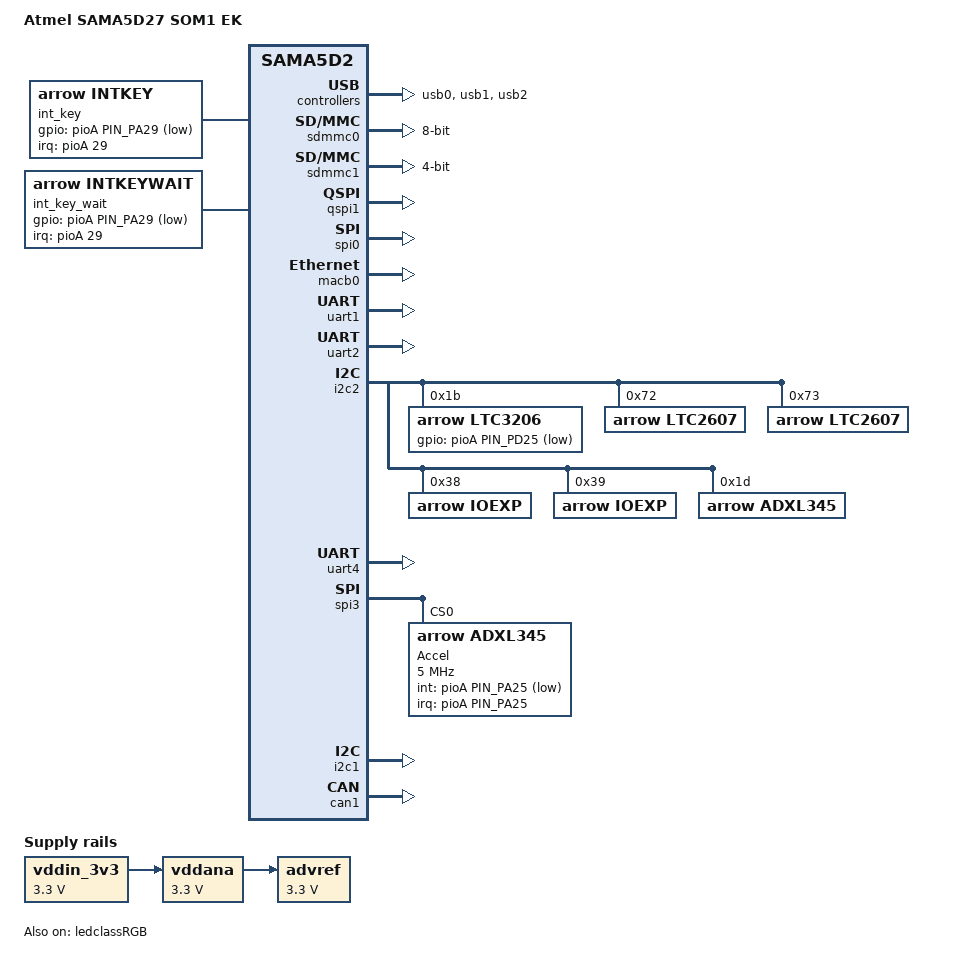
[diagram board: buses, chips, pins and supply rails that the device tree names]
/*
 * at91-sama5d27_som1_ek.dts - Device Tree file for SAMA5D27-SOM1-EK board
 *
 *  Copyright (c) 2017, Microchip Technology Inc.
 *                2016 Nicolas Ferre <nicolas.ferre@atmel.com>
 *                2017 Cristian Birsan <cristian.birsan@microchip.com>
 *                2017 Claudiu Beznea <claudiu.beznea@microchip.com>
 *
 * This file is dual-licensed: you can use it either under the terms
 * of the GPL or the X11 license, at your option. Note that this dual
 * licensing only applies to this file, and not this project as a
 * whole.
 *
 *  a) This file is free software; you can redistribute it and/or
 *     modify it under the terms of the GNU General Public License as
 *     published by the Free Software Foundation; either version 2 of the
 *     License, or (at your option) any later version.
 *
 *     This file is distributed in the hope that it will be useful,
 *     but WITHOUT ANY WARRANTY; without even the implied warranty of
 *     MERCHANTABILITY or FITNESS FOR A PARTICULAR PURPOSE.  See the
 *     GNU General Public License for more details.
 *
 * Or, alternatively,
 *
 *  b) Permission is hereby granted, free of charge, to any person
 *     obtaining a copy of this software and associated documentation
 *     files (the "Software"), to deal in the Software without
 *     restriction, including without limitation the rights to use,
 *     copy, modify, merge, publish, distribute, sublicense, and/or
 *     sell copies of the Software, and to permit persons to whom the
 *     Software is furnished to do so, subject to the following
 *     conditions:
 *
 *     The above copyright notice and this permission notice shall be
 *     included in all copies or substantial portions of the Software.
 *
 *     THE SOFTWARE IS PROVIDED "AS IS", WITHOUT WARRANTY OF ANY KIND,
 *     EXPRESS OR IMPLIED, INCLUDING BUT NOT LIMITED TO THE WARRANTIES
 *     OF MERCHANTABILITY, FITNESS FOR A PARTICULAR PURPOSE AND
 *     NONINFRINGEMENT. IN NO EVENT SHALL THE AUTHORS OR COPYRIGHT
 *     HOLDERS BE LIABLE FOR ANY CLAIM, DAMAGES OR OTHER LIABILITY,
 *     WHETHER IN AN ACTION OF CONTRACT, TORT OR OTHERWISE, ARISING
 *     FROM, OUT OF OR IN CONNECTION WITH THE SOFTWARE OR THE USE OR
 *     OTHER DEALINGS IN THE SOFTWARE.
 */
/dts-v1/;
#include "at91-sama5d27_som1.dtsi"
#include <dt-bindings/mfd/atmel-flexcom.h>
#include <dt-bindings/gpio/gpio.h>

/ {
	model = "Atmel SAMA5D27 SOM1 EK";
	compatible = "atmel,sama5d27-som1-ek", "atmel,sama5d27-som1", "atmel,sama5d27", "atmel,sama5d2", "atmel,sama5";

	aliases {
		serial0 = &uart1;	/* DBGU */
		serial1 = &uart4;	/* mikro BUS 1 */
		serial2 = &uart2;	/* mikro BUS 2 */
		i2c1	= &i2c1;
		i2c2	= &i2c2;
	};

	chosen {
		stdout-path = "serial0:115200n8";
	};

	ahb {
		usb0: gadget@300000 {
			atmel,vbus-gpio = <&pioA PIN_PD20 GPIO_ACTIVE_HIGH>;
			pinctrl-names = "default";
			pinctrl-0 = <&pinctrl_usba_vbus>;
			status = "okay";
		};

		usb1: ohci@400000 {
			num-ports = <3>;
			atmel,vbus-gpio = <0 /* &pioA PIN_PD20 GPIO_ACTIVE_HIGH */
					   &pioA PIN_PA27 GPIO_ACTIVE_HIGH
					   0
					  >;
			pinctrl-names = "default";
			pinctrl-0 = <&pinctrl_usb_default>;
			status = "okay";
		};

		usb2: ehci@500000 {
			status = "okay";
		};

		sdmmc0: sdio-host@a0000000 {
			bus-width = <8>;
			pinctrl-names = "default";
			pinctrl-0 = <&pinctrl_sdmmc0_default>;
			status = "okay";
		};

		sdmmc1: sdio-host@b0000000 {
			bus-width = <4>;
			pinctrl-names = "default";
			pinctrl-0 = <&pinctrl_sdmmc1_default>;
			status = "okay";
		};

		apb {
			pmc: pmc@f0014000 {
				pmc_fast_restart {
					compatible = "atmel,sama5d2-pmc-fast-startup";
					#address-cells = <1>;
					#size-cells = <0>;

					atmel,wakeup-rtc-timer;

					wkpin: input@0 {
						reg = <0>;
					};

					gmac_wol: input@10 {
						reg = <10>;
						atmel,wakeup-active-high;
					};
				};
			};

			isc: isc@f0008000 {
				pinctrl-names = "default";
				pinctrl-0 = <&pinctrl_isc_base &pinctrl_isc_data_8bit &pinctrl_isc_data_9_10 &pinctrl_isc_data_11_12>;
				status = "okay";
			};

			qspi1: spi@f0024000 {
				status = "okay";
			};

			spi0: spi@f8000000 {
				pinctrl-names = "default";
				pinctrl-0 = <&pinctrl_spi0_default>;
				status = "okay";
			};

			macb0: ethernet@f8008000 {
				status = "okay";
			};

			tcb0: timer@f800c000 {
				timer0: timer@0 {
					compatible = "atmel,tcb-timer";
					reg = <0>;
				};

				timer1: timer@1 {
					compatible = "atmel,tcb-timer";
					reg = <1>;
				};
			};

			uart1: serial@f8020000 {
				pinctrl-names = "default";
				pinctrl-0 = <&pinctrl_uart1_default>;
				atmel,use-dma-rx;
				atmel,use-dma-tx;
				status = "okay";
			};

			uart2: serial@f8024000 {
				pinctrl-names = "default";
				pinctrl-0 = <&pinctrl_mikrobus2_uart>;
				atmel,use-dma-rx;
				atmel,use-dma-tx;
				status = "okay";
			};

			pwm0: pwm@f802c000 {
				pinctrl-names = "default";
				pinctrl-0 = <&pinctrl_mikrobus1_pwm &pinctrl_mikrobus2_pwm>;
				status = "disabled"; /* Conflict with leds. */
			};

			flx1: flexcom@f8038000 {
				atmel,flexcom-mode = <ATMEL_FLEXCOM_MODE_TWI>;
				status = "okay";

				i2c2: i2c@600 {
					compatible = "atmel,sama5d2-i2c";
					reg = <0x600 0x200>;
					interrupts = <20 IRQ_TYPE_LEVEL_HIGH 7>;
					dmas = <0>, <0>;
					dma-names = "tx", "rx";
					#address-cells = <1>;
					#size-cells = <0>;
					clocks = <&flx1_clk>;
					pinctrl-names = "default";
					pinctrl-0 = <&pinctrl_mikrobus_i2c>;
					atmel,fifo-size = <16>;
					status = "okay";

					ltc3206: ltc3206@1b {
						compatible = "arrow,ltc3206";
						reg = <0x1b>;
						pinctrl-0 = <&pinctrl_mikrobus1_an>;
						gpios = <&pioA PIN_PD25 GPIO_ACTIVE_LOW>;
					
						led1r {
							label = "red";
						};

						led1b {
							label = "blue";
						};
					
						led1g {
							label = "green";
						};
					
						ledmain {
							label = "main";
						};
					
						ledsub {
							label = "sub";
						};
					};	

					ltc2607@72 {
						compatible = "arrow,ltc2607";
						reg = <0x72>;
					};
				
					ltc2607@73 {
						compatible = "arrow,ltc2607";
						reg = <0x73>;
					};

					ioexp@38 {
						compatible = "arrow,ioexp";
						reg = <0x38>;
					};
					
					ioexp@39 {
						compatible = "arrow,ioexp";
						reg = <0x39>;
					};

					adxl345@1c {
						compatible = "arrow,adxl345";
						reg = <0x1d>;
					};
				};
			};

			shdwc@f8048010 {
				atmel,shdwc-debouncer = <976>;
				atmel,wakeup-rtc-timer;

				input@0 {
					reg = <0>;
					atmel,wakeup-type = "low";
				};
			};

			watchdog@f8048040 {
				status = "okay";
			};

			uart3: serial@fc008000 {
				atmel,use-dma-rx;
				atmel,use-dma-tx;
				pinctrl-names = "default";
				pinctrl-0 = <&pinctrl_uart3_default>;
				status = "disabled"; /* Conflict with isc. */
			};

			uart4: serial@fc00c000 {
				atmel,use-dma-rx;
				atmel,use-dma-tx;
				pinctrl-names = "default";
				pinctrl-0 = <&pinctrl_mikrobus1_uart>;
				status = "okay";
			};

			flx3: flexcom@fc014000 {
				atmel,flexcom-mode = <ATMEL_FLEXCOM_MODE_SPI>;
				status = "disabled";

				uart7: serial@200 {
					compatible = "atmel,at91sam9260-usart";
					reg = <0x200 0x200>;
					interrupts = <22 IRQ_TYPE_LEVEL_HIGH 7>;
					clocks = <&flx3_clk>;
					clock-names = "usart";
					pinctrl-names = "default";
					pinctrl-0 = <&pinctrl_flx3_default>;
					atmel,fifo-size = <32>;
					status = "disabled"; /* Conflict with isc. */
				};

				spi2: spi@400 {
					compatible = "atmel,at91rm9200-spi";
					reg = <0x400 0x200>;
					interrupts = <22 IRQ_TYPE_LEVEL_HIGH 7>;
					clocks = <&flx3_clk>;
					clock-names = "spi_clk";
					pinctrl-names = "default";
					pinctrl-0 = <&pinctrl_flx3_default>;
					atmel,fifo-size = <16>;
					status = "disabled"; /* Conflict with isc. */
				};
			};

			flx4: flexcom@fc018000 {
				atmel,flexcom-mode = <ATMEL_FLEXCOM_MODE_SPI>;
				status = "okay";

				uart6: serial@200 {
					compatible = "atmel,at91sam9260-usart";
					reg = <0x200 0x200>;
					interrupts = <23 IRQ_TYPE_LEVEL_HIGH 7>;
					clocks = <&flx4_clk>;
					clock-names = "usart";
					pinctrl-names = "default";
					pinctrl-0 = <&pinctrl_flx4_default>;
					atmel,fifo-size = <32>;
					status = "disabled"; /* Conflict with spi3 and i2c3. */
				};

				spi3: spi@400 {
					compatible = "atmel,at91rm9200-spi";
					reg = <0x400 0x200>;
					interrupts = <23 IRQ_TYPE_LEVEL_HIGH 7>;
					clocks = <&flx4_clk>;
					clock-names = "spi_clk";
					#address-cells = <1>;
					#size-cells = <0>;
					pinctrl-names = "default";
					pinctrl-0 = <&pinctrl_mikrobus_spi &pinctrl_mikrobus1_spi_cs &pinctrl_mikrobus2_spi_cs>;
					atmel,fifo-size = <16>;
					status = "okay"; /* Conflict with uart6 and i2c3. */

					/* spidev@0 {
						compatible = "spidev";
						spi-max-frequency = <2000000>;
						reg = <0>;
					}; */

					Accel: ADXL345@0 {
						compatible = "arrow,adxl345";
						reg = <0>;
						spi-max-frequency = <5000000>;
						pinctrl-names = "default";
						pinctrl-0 = <&pinctrl_mikrobus2_int>;
						spi-cpol;
						spi-cpha;
						int-gpios = <&pioA PIN_PA25 GPIO_ACTIVE_LOW>;
						interrupt-parent = <&pioA>;
						interrupts = <PIN_PA25 IRQ_TYPE_LEVEL_HIGH>;
					}; 
					
					/* ADC: ltc2422@0 {
						compatible = "arrow,ltc2422";
						spi-max-frequency = <2000000>;
						reg = <0>;
						pinctrl-0 = <&pinctrl_key_gpio_default>;
						int-gpios = <&pioA PIN_PA29 GPIO_ACTIVE_LOW>;
						interrupt-parent = <&pioA>;
						interrupts = <29  IRQ_TYPE_EDGE_FALLING>;
					}; */
				};

				i2c3: i2c@600 {
					compatible = "atmel,sama5d2-i2c";
					reg = <0x600 0x200>;
					interrupts = <23 IRQ_TYPE_LEVEL_HIGH 7>;
					dmas = <0>, <0>;
					dma-names = "tx", "rx";
					#address-cells = <1>;
					#size-cells = <0>;
					clocks = <&flx4_clk>;
					pinctrl-names = "default";
					pinctrl-0 = <&pinctrl_flx4_default>;
					atmel,fifo-size = <16>;
					status = "disabled"; /* Conflict with uart6 and spi3. */
				};
			};

			i2c1: i2c@fc028000 {
				dmas = <0>, <0>;
				pinctrl-names = "default";
				pinctrl-0 = <&pinctrl_i2c1_default>;
				status = "okay";
			};

			adc: adc@fc030000 {
				vddana-supply = <&vddana>;
				vref-supply = <&advref>;

				status = "disabled";
			};

			pinctrl@fc038000 {

				pinctrl_can1_default: can1_default {
					pinmux = <PIN_PC26__CANTX1>,
						 <PIN_PC27__CANRX1>;
					bias-disable;
				};

				pinctrl_flx3_default: flx3_default {
					pinmux = <PIN_PC20__FLEXCOM3_IO0>,
						 <PIN_PC19__FLEXCOM3_IO1>,
						 <PIN_PC18__FLEXCOM3_IO2>,
						 <PIN_PC21__FLEXCOM3_IO3>,
						 <PIN_PC22__FLEXCOM3_IO4>;
					bias-disable;
				};

				pinctrl_i2c1_default: i2c1_default {
					pinmux = <PIN_PD4__TWD1>,
						 <PIN_PD5__TWCK1>;
					bias-disable;
				};

				pinctrl_isc_base: isc_base {
					pinmux = <PIN_PC21__ISC_PCK>,
						 <PIN_PC22__ISC_VSYNC>,
						 <PIN_PC23__ISC_HSYNC>,
						 <PIN_PC24__ISC_MCK>;
					bias-disable;
				};

				pinctrl_isc_data_8bit: isc_data_8bit {
					pinmux = <PIN_PC20__ISC_D11>,
						 <PIN_PC19__ISC_D10>,
						 <PIN_PC18__ISC_D9>,
						 <PIN_PC17__ISC_D8>,
						 <PIN_PC16__ISC_D7>,
						 <PIN_PC15__ISC_D6>,
						 <PIN_PC14__ISC_D5>,
						 <PIN_PC13__ISC_D4>;
					bias-disable;
				};

				pinctrl_isc_data_9_10: isc_data_9_10 {
					pinmux = <PIN_PC12__ISC_D3>,
						 <PIN_PC11__ISC_D2>;
					bias-disable;
				};

				pinctrl_isc_data_11_12: isc_data_11_12 {
					pinmux = <PIN_PC10__ISC_D1>,
						 <PIN_PC9__ISC_D0>;
					bias-disable;
				};

				pinctrl_key_gpio_default: key_gpio_default {
					pinmux = <PIN_PA29__GPIO>;
					bias-pull-up;
				};

				pinctrl_led_gpio_default: led_gpio_default {
					pinmux = <PIN_PA10__GPIO>,
						 <PIN_PB1__GPIO>,
						 <PIN_PA31__GPIO>;
					bias-pull-up;
				};

				pinctrl_ledkey_gpio_default: ledkey_gpio_default {
					key {
					 	pinmux = <PIN_PB0__GPIO>,
						 	<PIN_PA29__GPIO>;
						bias-pull-up;
					};
					 
					led {
						pinmux = <PIN_PA10__GPIO>,
							 <PIN_PB1__GPIO>,
							 <PIN_PA31__GPIO>;
						bias-pull-up;
					};
				};

				pinctrl_sdmmc0_default: sdmmc0_default {
					cmd_data {
						pinmux = <PIN_PA1__SDMMC0_CMD>,
							 <PIN_PA2__SDMMC0_DAT0>,
							 <PIN_PA3__SDMMC0_DAT1>,
							 <PIN_PA4__SDMMC0_DAT2>,
							 <PIN_PA5__SDMMC0_DAT3>,
							 <PIN_PA6__SDMMC0_DAT4>,
							 <PIN_PA7__SDMMC0_DAT5>,
							 <PIN_PA8__SDMMC0_DAT6>,
							 <PIN_PA9__SDMMC0_DAT7>;
						bias-disable;
					};

					ck_cd_vddsel {
						pinmux = <PIN_PA0__SDMMC0_CK>,
							 <PIN_PA11__SDMMC0_VDDSEL>,
							 <PIN_PA13__SDMMC0_CD>;
						bias-disable;
					};
				};

				pinctrl_sdmmc1_default: sdmmc1_default {
					cmd_data {
						pinmux = <PIN_PA28__SDMMC1_CMD>,
							 <PIN_PA18__SDMMC1_DAT0>,
							 <PIN_PA19__SDMMC1_DAT1>,
							 <PIN_PA20__SDMMC1_DAT2>,
							 <PIN_PA21__SDMMC1_DAT3>;
						bias-disable;
					};

					conf-ck_cd {
						pinmux = <PIN_PA22__SDMMC1_CK>,
							 <PIN_PA30__SDMMC1_CD>;
						bias-disable;
					};
				};

				pinctrl_spi0_default: spi0_default {
					pinmux = <PIN_PA14__SPI0_SPCK>,
						 <PIN_PA15__SPI0_MOSI>,
						 <PIN_PA16__SPI0_MISO>,
						 <PIN_PA17__SPI0_NPCS0>;
					bias-disable;
				};

				pinctrl_uart1_default: uart1_default {
					pinmux = <PIN_PD2__URXD1>,
						 <PIN_PD3__UTXD1>;
					bias-disable;
				};

				pinctrl_uart3_default: uart3_default {
					pinmux = <PIN_PC12__URXD3>,
						 <PIN_PC13__UTXD3>; 
					bias-disable;
				};

				pinctrl_usb_default: usb_default {
					pinmux = <PIN_PA27__GPIO>,
						 <PIN_PD19__GPIO>;
					bias-disable;
				};

				pinctrl_usba_vbus: usba_vbus {
					pinmux = <PIN_PD20__GPIO>;
					bias-disable;
				};

				pinctrl_mikrobus1_an: mikrobus1_an {
					pinmux = <PIN_PD25__GPIO>;
					bias-disable;
				};

				pinctrl_mikrobus2_an: mikrobus2_an {
					pinmux = <PIN_PD26__GPIO>;
					bias-disable;
				};

				pinctrl_mikrobus1_rst: mikrobus1_rst {
					pinmux = <PIN_PB2__GPIO>;
					bias-disable;
				};

				pinctrl_mikrobus2_rst: mikrobus2_rst {
					pinmux = <PIN_PA26__GPIO>;
					bias-disable;
				};

				pinctrl_mikrobus1_spi_cs: mikrobus1_spi_cs {
					pinmux = <PIN_PD0__FLEXCOM4_IO4>;
					bias-disable;
				};

				pinctrl_mikrobus2_spi_cs: mikrobus2_spi_cs {
					pinmux = <PIN_PC31__FLEXCOM4_IO3>;
					bias-disable;
				};

				pinctrl_mikrobus_spi: mikrobus_spi {
					pinmux = <PIN_PC28__FLEXCOM4_IO0>,
						 <PIN_PC29__FLEXCOM4_IO1>,
						 <PIN_PC30__FLEXCOM4_IO2>;
					bias-disable;
				};

				pinctrl_mikrobus1_pwm: mikrobus1_pwm {
					pinmux = <PIN_PB1__PWML1>;
					bias-disable;
				};

				pinctrl_mikrobus2_pwm: mikrobus2_pwm {
					pinmux = <PIN_PA31__PWML0>;
					bias-disable;
				};

				pinctrl_mikrobus1_int: mikrobus1_int {
					pinmux = <PIN_PB0__GPIO>;
					bias-disable;
				};

				pinctrl_mikrobus2_int: mikrobus2_int {
					pinmux = <PIN_PA25__GPIO>;
					bias-disable;
				};

				pinctrl_mikrobus1_uart: mikrobus1_uart {
					pinmux = <PIN_PB3__URXD4>,
						 <PIN_PB4__UTXD4>;
					bias-disable;
				};

				pinctrl_mikrobus2_uart: mikrobus2_uart {
					pinmux = <PIN_PD23__URXD2>,
						 <PIN_PD24__UTXD2>;
					bias-disable;
				};

				pinctrl_mikrobus_i2c: mikrobus1_i2c {
					pinmux = <PIN_PA24__FLEXCOM1_IO0>,
						 <PIN_PA23__FLEXCOM1_IO1>;
					bias-disable;
				};

				pinctrl_flx4_default: flx4_uart_default {
					pinmux = <PIN_PC28__FLEXCOM4_IO0>,
						 <PIN_PC29__FLEXCOM4_IO1>,
						 <PIN_PC30__FLEXCOM4_IO2>,
						 <PIN_PC31__FLEXCOM4_IO3>,
						 <PIN_PD0__FLEXCOM4_IO4>;
					bias-disable;
				};
			};

			can1: can@fc050000 {
				pinctrl-names = "default";
				pinctrl-0 = <&pinctrl_can1_default>;
				status = "okay";
			};
		};
	};

	hellokeys {
		compatible = "arrow,hellokeys";
	};

	sdma_m2m {
		compatible = "arrow,sdma_m2m";
	};

	linked_memory {
		compatible = "arrow, memory";
	};

	int_key{
		compatible = "arrow,intkey";
		pinctrl-names = "default";
		pinctrl-0 = <&pinctrl_key_gpio_default>;
		gpios = <&pioA PIN_PA29 GPIO_ACTIVE_LOW>;
		interrupt-parent = <&pioA>;
		interrupts = <29  IRQ_TYPE_EDGE_FALLING>;
	};

	int_key_wait {
		compatible = "arrow,intkeywait";
		pinctrl-names = "default";
		pinctrl-0 = <&pinctrl_key_gpio_default>;
		gpios = <&pioA PIN_PA29 GPIO_ACTIVE_LOW>;
		interrupt-parent = <&pioA>;
		interrupts = <29  IRQ_TYPE_EDGE_BOTH>;
	};

	ledpwm {
		compatible = "arrow,ledpwm";

		pinctrl-names = "default";
		pinctrl-0 = <&pinctrl_ledkey_gpio_default>;

		bp1 {
			label = "PB_KEY";
			gpios = <&pioA PIN_PA29 GPIO_ACTIVE_LOW>;
			trigger = "rising";
		};
		
		bp2 {
			label = "MIKROBUS_KEY";
			gpios = <&pioA PIN_PB0 GPIO_ACTIVE_LOW>;
			trigger = "rising";
		};

		ledred {
			label = "led";
			colour = "red";
			gpios = <&pioA PIN_PA10 GPIO_ACTIVE_LOW>;
		};
		
		ledgreen {
			label = "led";
			colour = "green";
			gpios = <&pioA PIN_PB1 GPIO_ACTIVE_LOW>;
		};

		ledblue {
			label = "led";
			colour = "blue";
			gpios = <&pioA PIN_PA31 GPIO_ACTIVE_LOW>;
		};
	
	};

	ledred {
		compatible = "arrow,RGBleds";
		label = "ledred";
		pinctrl-0 = <&pinctrl_led_gpio_default>;
	};

	ledgreen {
		compatible = "arrow,RGBleds";
		label = "ledgreen";
	};

	ledblue {
		compatible = "arrow,RGBleds";
		label = "ledblue";
	};

	ledclassRGB {
		compatible = "arrow,RGBclassleds";
		reg = <0xFC038000 0x4000>;	
		pinctrl-names = "default";
		pinctrl-0 = <&pinctrl_led_gpio_default>;
		status = "okay";

		red {
			label = "red";
		};

		green {
			label = "green";
		};

		blue {
			label = "blue";
			linux,default-trigger = "heartbeat";
		};
	};

	UIO {
		compatible = "arrow,UIO";
		reg = <0xFC038000 0x4000>;	
		pinctrl-names = "default";
		pinctrl-0 = <&pinctrl_led_gpio_default>;
	};

	gpio_keys {
		compatible = "gpio-keys";
		pinctrl-names = "default";
		pinctrl-0 = <&pinctrl_key_gpio_default>;
		status = "disabled";

		pb4 {
			label = "USER";
			gpios = <&pioA PIN_PA29 GPIO_ACTIVE_LOW>;
			linux,code = <0x104>;
			wakeup-source;
		};
	};

	leds {
		compatible = "gpio-leds";
		pinctrl-names = "default";
		pinctrl-0 = <&pinctrl_led_gpio_default>;
		status = "disabled"; /* Conflict with pwm0. */

		red {
			label = "red";
			gpios = <&pioA PIN_PA10 GPIO_ACTIVE_HIGH>;
		};

		green {
			label = "green";
			gpios = <&pioA PIN_PB1 GPIO_ACTIVE_HIGH>;
		};

		blue {
			label = "blue";
			gpios = <&pioA PIN_PA31 GPIO_ACTIVE_HIGH>;
			linux,default-trigger = "heartbeat";
		};
	};

	vddin_3v3: fixed-regulator-vddin_3v3 {
		compatible = "regulator-fixed";

		regulator-name = "VDDIN_3V3";
		regulator-min-microvolt = <3300000>;
		regulator-max-microvolt = <3300000>;
		regulator-always-on;
		regulator-boot-on;
		status = "okay";
	};

	vddana: fixed-regulator-vddana {
		compatible = "regulator-fixed";

		regulator-name = "VDDANA";
		regulator-min-microvolt = <3300000>;
		regulator-max-microvolt = <3300000>;
		regulator-always-on;
		regulator-boot-on;
		vin-supply = <&vddin_3v3>;
		status = "okay";
	};

	advref: fixed-regulator-advref {
		compatible = "regulator-fixed";

		regulator-name = "advref";
		regulator-min-microvolt = <3300000>;
		regulator-max-microvolt = <3300000>;
		regulator-always-on;
		regulator-boot-on;
		vin-supply = <&vddana>;
		status = "okay";
	};
};
